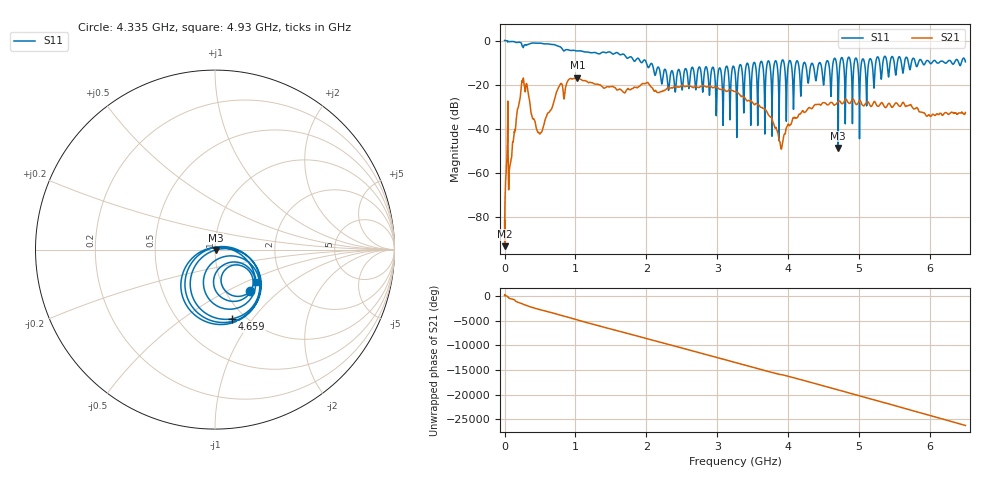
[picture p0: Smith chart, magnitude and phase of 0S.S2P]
!Keysight Technologies,E5063A,MY54503115,A.05.08
!Date: Tue Mar 05 14:43:03 2024
!Data & Calibration Information:
!Freq	S11:NONE(--)	S21:NONE(--)	S12:NONE(--)	S22:NONE(--)
# Hz S dB R 50
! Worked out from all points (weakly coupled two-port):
!   10001 points, 100 kHz to 6.5 GHz, reference 50 ohm
!   highest |S21| = -16.84 dB at 1.028 GHz (marker M1); lowest = -93.3 dB at 1.4 MHz (marker M2)
!   lowest |S11| = -48.8 dB at 4.707 GHz (marker M3), VSWR 1.01, Z = 50.3 - j0.225 ohm
!   |S11| at or under -10 dB: 1.999 GHz to 3.517 GHz (1.518 GHz wide, 55 % of centre); 4.235 GHz to 4.443 GHz (208.2 MHz wide, 4.8 % of centre); 4.448 GHz to 4.536 GHz (88.73 MHz wide, 1.98 % of centre) (the widest 3 of 30)
!   S12 and S22 are empty: the file has one direction only
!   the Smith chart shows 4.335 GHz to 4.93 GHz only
!   S11 on the Smith chart (normalised r, x): 4.335 GHz: 1.30, -0.67; 4.659 GHz: 0.87, -0.80; 4.93 GHz: 1.46, -0.57
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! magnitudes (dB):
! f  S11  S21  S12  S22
! 100 kHz  0.0  -81.7  -  -
! 1.4 MHz  0.0  -93.3  -  -
! 39.75 MHz  -0.2  -44.0  -  -
! 84.6 MHz  -0.5  -55.3  -  -
! 253.6 MHz  -2.6  -18.8  -  -
! 496 MHz  -1.2  -42.4  -  -
! 774.2 MHz  -2.7  -20.3  -  -
! 1.028 GHz  -4.7  -16.8  -  -
! 1.084 GHz  -4.7  -17.8  -  -
! 2.167 GHz  -12.0  -23.6  -  -
! 3.25 GHz  -14.2  -23.1  -  -
! 3.621 GHz  -9.4  -30.3  -  -
! 3.678 GHz  -21.9  -31.2  -  -
! 3.898 GHz  -11.3  -49.0  -  -
! 4.334 GHz  -10.3  -30.9  -  -
! 4.335 GHz  -10.3  -30.9  -  -
! 4.659 GHz  -8.0  -29.3  -  -
! 4.707 GHz  -48.8  -27.7  -  -
! 4.755 GHz  -7.7  -28.7  -  -
! 4.93 GHz  -10.8  -27.1  -  -
! 5.417 GHz  -16.5  -28.6  -  -
! 6.5 GHz  -9.7  -32.7  -  -
